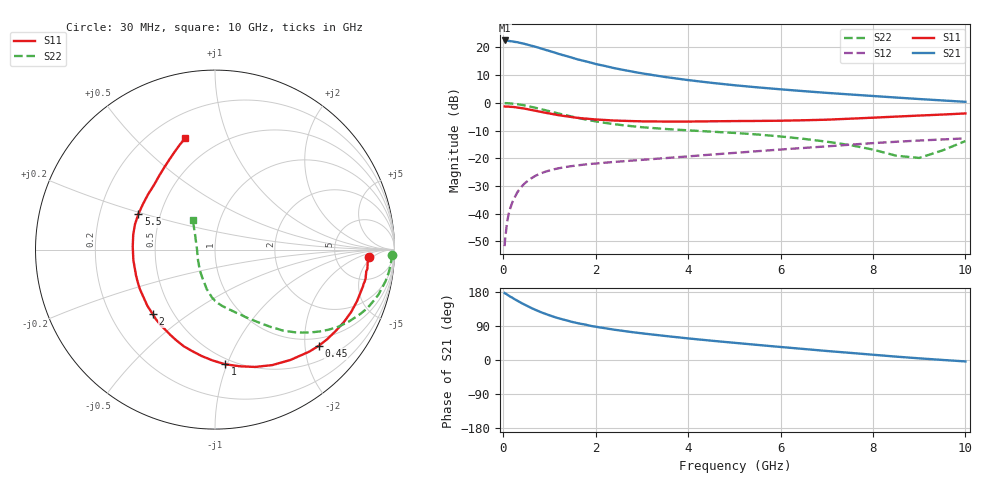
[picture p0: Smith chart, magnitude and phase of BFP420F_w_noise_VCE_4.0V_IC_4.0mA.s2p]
! Infineon Technologies  Discrete & RF Semiconductors
! BFP420F
! VCE =  4.0 V,  IC =  4.0 mA
! Common Emitter S-Parameters:  Sep 2011
# GHz  S  MA  R  50
!  f  S11  S21  S12  S22
! GHz  MAG  ANG  MAG  ANG  MAG  ANG  MAG  ANG
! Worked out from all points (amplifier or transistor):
!   54 points, 30 MHz to 10 GHz, reference 50 ohm
!   highest |S21| = 22.5 dB at 40 MHz (marker M1)
!   |S21| within 3 dB of that: start of sweep to 840.3 MHz
!   unconditionally stable (mu >= 1): 2.753 GHz to end of sweep
!   at 120 MHz: K = 0.14, MSG = 31.2 dB, |S12| = -40.0 dB
!   at 1.3 GHz: K = 0.47, MSG = 20.2 dB, |S12| = -23.3 dB
!   at 10 GHz: K = 1.41, MAG = 2.8 dB, |S12| = -12.8 dB
!   lowest NFmin = 0.90 dB at 450 MHz
!   S11 on the Smith chart (normalised r, x): 30 MHz: 12, -4; 450 MHz: 0.81, -2.30; 1 GHz: 0.45, -0.99; 2 GHz: 0.39, -0.37; 5.5 GHz: 0.38, +0.19; 10 GHz: 0.34, +0.71
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0.03  0.8593 -2.9  13.28 176.8  0.0026 71.5  0.9858 -1.6
0.04  0.8567 -4.0  13.29 176.0  0.0034 74.6  0.985 -2.1
0.1  0.8528 -9.9  13.2 171.3  0.0083 80.5  0.9809 -5.3
0.25  0.8344 -24.7  12.52 160.2  0.0198 75.8  0.9548 -12.9
0.35  0.8109 -34.1  12.11 153.4  0.0275 72.2  0.9301 -17.7
0.45  0.7882 -42.9  11.6 146.9  0.0343 68.3  0.9001 -22.1
0.6  0.7446 -55.7  10.73 137.7  0.0431 62.8  0.8464 -28.3
0.7  0.7183 -63.6  10.21 132.2  0.0484 59.7  0.8119 -31.9
0.8  0.6907 -71.2  9.641 126.9  0.0528 56.8  0.7744 -35.2
1  0.6418 -84.8  8.582 118.0  0.0602 52.0  0.7037 -41.0
1.2  0.5978 -97.1  7.61 110.0  0.066 48.2  0.6404 -46.0
1.3  0.5801 -102.5  7.205 106.8  0.0683 46.7  0.6123 -48.1
1.5  0.5498 -113.0  6.46 100.2  0.0725 44.2  0.5603 -51.9
1.7  0.5252 -121.9  5.804 95.1  0.0759 42.4  0.5154 -55.4
2  0.4997 -134.0  4.999 87.8  0.0803 40.5  0.4622 -60.1
2.6  0.473 -152.1  3.91 76.7  0.0882 38.8  0.3923 -68.1
3.5  0.4587 -172.6  2.919 63.5  0.1005 38.2  0.3374 -77.7
4.5  0.4633 169.6  2.292 51.0  0.1163 37.7  0.3019 -86.1
5.5  0.4706 155.2  1.897 39.8  0.134 36.4  0.2682 -93.4
7  0.4956 133.1  1.509 23.8  0.1637 32.9  0.1989 -106.8
8.5  0.5633 116.7  1.243 8.9  0.1982 26.7  0.1112 -148.4
10  0.6423 105.1  1.041 -3.8  0.2281 19.2  0.2038 127.2
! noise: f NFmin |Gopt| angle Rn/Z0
0.45  0.9  0.29  15  0.18
0.9  0.93  0.3  37  0.18
1.9  1.14  0.23  96  0.14
2.4  1.24  0.24  105  0.15
3.5  1.56  0.28  144  0.16
